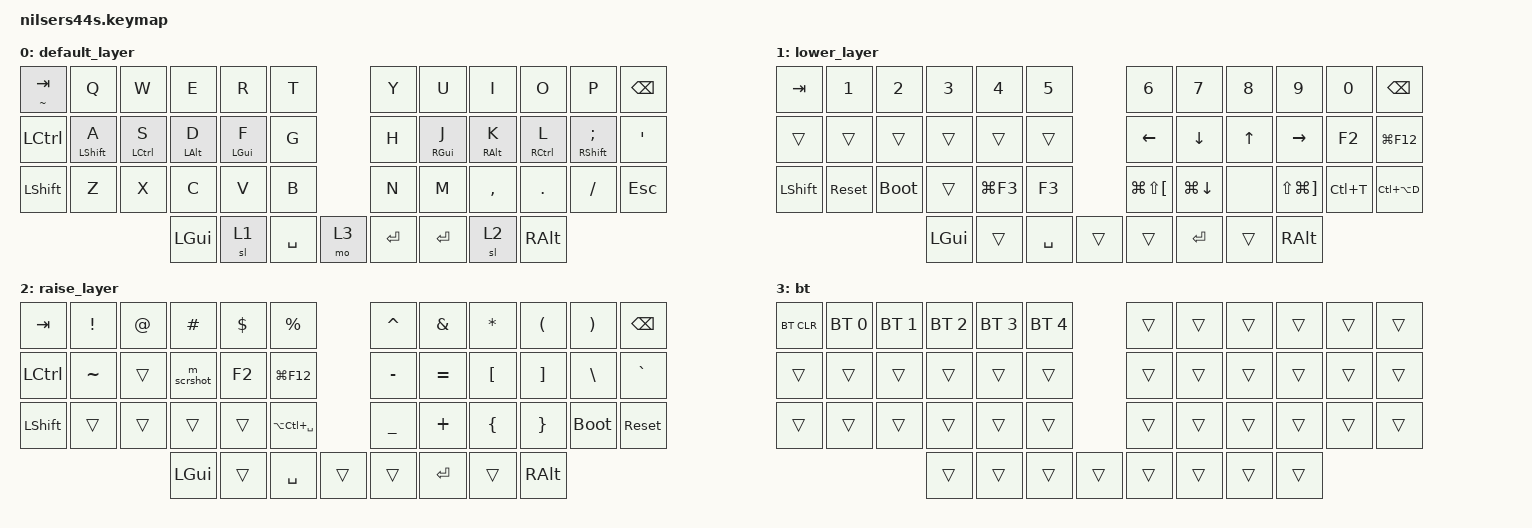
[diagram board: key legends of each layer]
#include <behaviors.dtsi>
#include <dt-bindings/zmk/bt.h>
#include <dt-bindings/zmk/keys.h>

/ {
    behaviors {
        ht: ht {
            compatible = "zmk,behavior-hold-tap";
            label = "HT";
            bindings = <&kp>, <&kp>;

            #binding-cells = <2>;
            flavor = "tap-preferred";
            tapping-term-ms = <200>;
            require-prior-idle-ms = <125>;
            quick-tap-ms = <200>;
        };
    };

    macros {
        m_scrshot: MAC_SCREENSHOT {
            compatible = "zmk,behavior-macro";
            #binding-cells = <0>;
            bindings = <&kp LS(LG(NUMBER_4))>;
            label = "MAC_SCREENSHOT";
        };
    };

    keymap {
        compatible = "zmk,keymap";

        default_layer {
            // -----------------------------------------------------------------------------------------
            // |  TAB |  Q  |  W  |  E  |  R  |  T  |   |  Y  |  U   |  I  |  O  |  P  | BSPC |
            // | CTRL |  A  |  S  |  D  |  F  |  G  |   |  H  |  J   |  K  |  L  |  ;  |  '   |
            // | SHFT |  Z  |  X  |  C  |  V  |  B  |   |  N  |  M   |  ,  |  .  |  /  | ESC  |
            //                    | GUI | LWR | SPC |   | ENT | RSE  | ALT |

            bindings = <
&ht TILDE TAB  &kp Q             &kp W        &kp E       &kp R       &kp T                        &kp Y    &kp U       &kp I       &kp O        &kp P           &kp BSPC
&kp LCTRL      &ht LEFT_SHIFT A  &ht LCTRL S  &ht LALT D  &ht LGUI F  &kp G                        &kp H    &ht RGUI J  &ht RALT K  &ht RCTRL L  &ht RSHFT SEMI  &kp SQT
&kp LSHFT      &kp Z             &kp X        &kp C       &kp V       &kp B                        &kp N    &kp M       &kp COMMA   &kp DOT      &kp FSLH        &kp ESC
                                              &kp LGUI    &sl 1       &kp SPACE  &mo 3    &kp RET  &kp RET  &sl 2       &kp RALT
            >;
        };

        lower_layer {
            // -----------------------------------------------------------------------------------------
            // |  TAB |  1  |  2  |  3  |  4  |  5  |   |  6  |  7  |  8  |  9  |  0  | BSPC |
            // | BTCLR| BT1 | BT2 | BT3 | BT4 | BT5 |   | LFT | DWN |  UP | RGT |     |      |
            // | SHFT |     |     |     |     |     |   |     |     |     |     |     |      |
            //                    | GUI |     | SPC |   | ENT |     | ALT |

            bindings = <
&kp TAB    &kp N1      &kp N2       &kp N3    &kp N4      &kp N5                       &kp N6                    &kp N7        &kp N8    &kp N9                     &kp N0     &kp BSPC
&trans     &trans      &trans       &trans    &trans      &trans                       &kp LEFT                  &kp DOWN      &kp UP    &kp RIGHT                  &kp F2     &kp LG(F12)
&kp LSHFT  &sys_reset  &bootloader  &trans    &kp LG(F3)  &kp F3                       &kp LG(LS(LEFT_BRACKET))  &kp LG(DOWN)  &none     &kp LS(LG(RIGHT_BRACKET))  &kp LC(T)  &kp LC(LA(D))
                                    &kp LGUI  &trans      &kp SPACE  &trans    &trans  &kp RET                   &trans        &kp RALT
            >;
        };

        raise_layer {
            // -----------------------------------------------------------------------------------------
            // |  TAB |  !  |  @  |  #  |  $  |  %  |   |  ^  |  &  |  *  |  (  |  )  | BSPC |
            // | CTRL |     |     |     |     |     |   |  -  |  =  |  [  |  ]  |  \  |  `   |
            // | SHFT |     |     |     |     |     |   |  _  |  +  |  {  |  }  | "|" |  ~   |
            //                    | GUI |     | SPC |   | ENT |     | ALT |

            bindings = <
&kp TAB    &kp EXCL   &kp AT  &kp HASH    &kp DLLR  &kp PRCNT                            &kp CARET  &kp AMPS   &kp ASTRK  &kp LPAR  &kp RPAR     &kp BSPC
&kp LCTRL  &kp TILDE  &trans  &m_scrshot  &kp F2    &kp LG(F12)                          &kp MINUS  &kp EQUAL  &kp LBKT   &kp RBKT  &kp BSLH     &kp GRAVE
&kp LSHFT  &trans     &trans  &trans      &trans    &kp LA(LC(SPACE))                    &kp UNDER  &kp PLUS   &kp LBRC   &kp RBRC  &bootloader  &sys_reset
                              &kp LGUI    &trans    &kp SPACE          &trans    &trans  &kp RET    &trans     &kp RALT
            >;
        };

        bt {
            bindings = <
&bt BT_CLR  &bt BT_SEL 0  &bt BT_SEL 1  &bt BT_SEL 2  &bt BT_SEL 3  &bt BT_SEL 4                    &trans  &trans  &trans  &trans  &trans  &trans
&trans      &trans        &trans        &trans        &trans        &trans                          &trans  &trans  &trans  &trans  &trans  &trans
&trans      &trans        &trans        &trans        &trans        &trans                          &trans  &trans  &trans  &trans  &trans  &trans
                                        &trans        &trans        &trans        &trans    &trans  &trans  &trans  &trans
            >;
        };
    };
};
